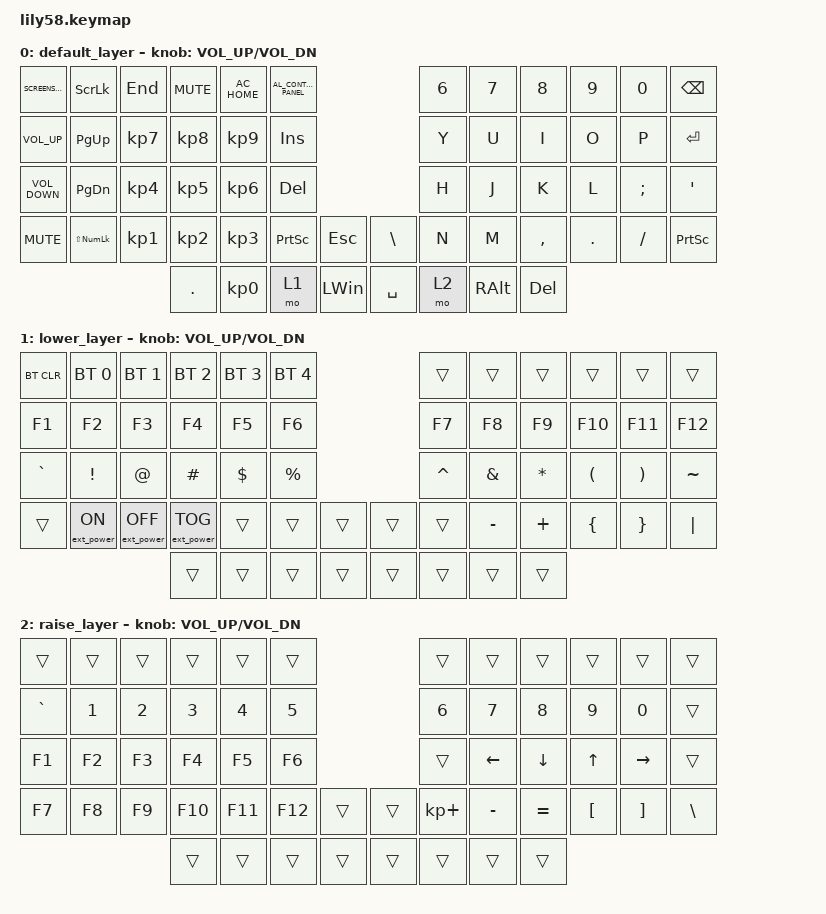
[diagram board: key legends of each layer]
/*
 * Copyright (c) 2020 The ZMK Contributors
 *
 * SPDX-License-Identifier: MIT
 */

#include <behaviors.dtsi>
#include <dt-bindings/zmk/bt.h>
#include <dt-bindings/zmk/ext_power.h>
#include <dt-bindings/zmk/keys.h>

/ {
    keymap {
        compatible = "zmk,keymap";

        default_layer {
            // ------------------------------------------------------------------------------------------------------------
            // |  ESC  |  1  |  2  |  3   |  4   |  5   |                   |  6   |  7    |  8    |  9   |   0   |   `   |
            // |  TAB  |  Q  |  W  |  E   |  R   |  T   |                   |  Y   |  U    |  I    |  O   |   P   |   -   |
            // |  CTRL |  A  |  S  |  D   |  F   |  G   |                   |  H   |  J    |  K    |  L   |   ;   |   '   |
            // | SHIFT |  Z  |  X  |  C   |  V   |  B   |   "["  |  |  "]"  |  N   |  M    |  ,    |  .   |   /   | SHIFT |
            //                     | ALT  | GUI  | LOWER|  SPACE |  | ENTER | RAISE| BSPC  | GUI   |

            bindings = <
&kp K_SCREENSAVER  &kp SCROLLLOCK      &kp END    &kp K_MUTE  &kp C_AC_HOME  &kp C_AL_CONTROL_PANEL                                 &kp N6  &kp N7         &kp N8     &kp N9   &kp N0    &kp BACKSPACE
&kp C_VOLUME_UP    &kp PAGE_UP         &kp KP_N7  &kp KP_N8   &kp KP_N9      &kp INSERT                                             &kp Y   &kp U          &kp I      &kp O    &kp P     &kp RET
&kp C_VOLUME_DOWN  &kp PAGE_DOWN       &kp KP_N4  &kp KP_N5   &kp KP_N6      &kp DEL                                                &kp H   &kp J          &kp K      &kp L    &kp SEMI  &kp SQT
&kp C_MUTE         &kp LS(KP_NUMLOCK)  &kp KP_N1  &kp KP_N2   &kp KP_N3      &kp PRINTSCREEN         &kp ESCAPE      &kp BACKSLASH  &kp N   &kp M          &kp COMMA  &kp DOT  &kp FSLH  &kp PRINTSCREEN
                                                  &kp PERIOD  &kp KP_N0      &mo 1                   &kp LEFT_WIN    &kp SPACE      &mo 2   &kp RIGHT_ALT  &kp DEL
            >;

            sensor-bindings = <&inc_dec_kp C_VOL_UP C_VOL_DN>;
        };

        lower_layer {
            // ------------------------------------------------------------------------------------------------------------
            // | BTCLR | BT1 | BT2 |  BT3 |  BT4 |  BT5 |                   |      |       |       |      |       |       |
            // |  F1   |  F2 |  F3 |  F4  |  F5  |  F6  |                   |  F7  |  F8   |  F9   |  F10 |  F11  |  F12  |
            // |   `   |  !  |  @  |  #   |  $   |  %   |                   |  ^   |  &    |  *    |  (   |   )   |   ~   |
            // |       |     |     |      |      |      |        |  |       |      |  _    |  +    |  {   |   }   |  "|"  |
            //                     |      |      |      |        |  |       |      |       |       |

            bindings = <
&bt BT_CLR  &bt BT_SEL 0      &bt BT_SEL 1       &bt BT_SEL 2       &bt BT_SEL 3  &bt BT_SEL 4                    &trans     &trans     &trans     &trans    &trans    &trans
&kp F1      &kp F2            &kp F3             &kp F4             &kp F5        &kp F6                          &kp F7     &kp F8     &kp F9     &kp F10   &kp F11   &kp F12
&kp GRAVE   &kp EXCL          &kp AT             &kp HASH           &kp DOLLAR    &kp PRCNT                       &kp CARET  &kp AMPS   &kp ASTRK  &kp LPAR  &kp RPAR  &kp TILDE
&trans      &ext_power EP_ON  &ext_power EP_OFF  &ext_power EP_TOG  &trans        &trans        &trans    &trans  &trans     &kp MINUS  &kp PLUS   &kp LBRC  &kp RBRC  &kp PIPE
                                                 &trans             &trans        &trans        &trans    &trans  &trans     &trans     &trans
            >;

            sensor-bindings = <&inc_dec_kp C_VOL_UP C_VOL_DN>;
        };

        raise_layer {
            // ------------------------------------------------------------------------------------------------------------
            // |       |     |     |      |      |      |                   |      |       |       |      |       |       |
            // |   `   |  1  |  2  |  3   |  4   |  5   |                   |  6   |   7   |   8   |  9   |   0   |       |
            // |   F1  |  F2 |  F3 |  F4  |  F5  |  F6  |                   |      |   <-  |   v   |  ^   |  ->   |       |
            // |   F7  |  F8 |  F9 |  F10 |  F11 |  F12 |        |  |       |  +   |   -   |   =   |  [   |   ]   |   \   |
            //                     |      |      |      |        |  |       |      |       |       |

            bindings = <
&trans     &trans  &trans  &trans   &trans   &trans                     &trans       &trans     &trans     &trans    &trans     &trans
&kp GRAVE  &kp N1  &kp N2  &kp N3   &kp N4   &kp N5                     &kp N6       &kp N7     &kp N8     &kp N9    &kp N0     &trans
&kp F1     &kp F2  &kp F3  &kp F4   &kp F5   &kp F6                     &trans       &kp LEFT   &kp DOWN   &kp UP    &kp RIGHT  &trans
&kp F7     &kp F8  &kp F9  &kp F10  &kp F11  &kp F12  &trans    &trans  &kp KP_PLUS  &kp MINUS  &kp EQUAL  &kp LBKT  &kp RBKT   &kp BSLH
                           &trans   &trans   &trans   &trans    &trans  &trans       &trans     &trans
            >;

            sensor-bindings = <&inc_dec_kp C_VOL_UP C_VOL_DN>;
        };
    };
};
